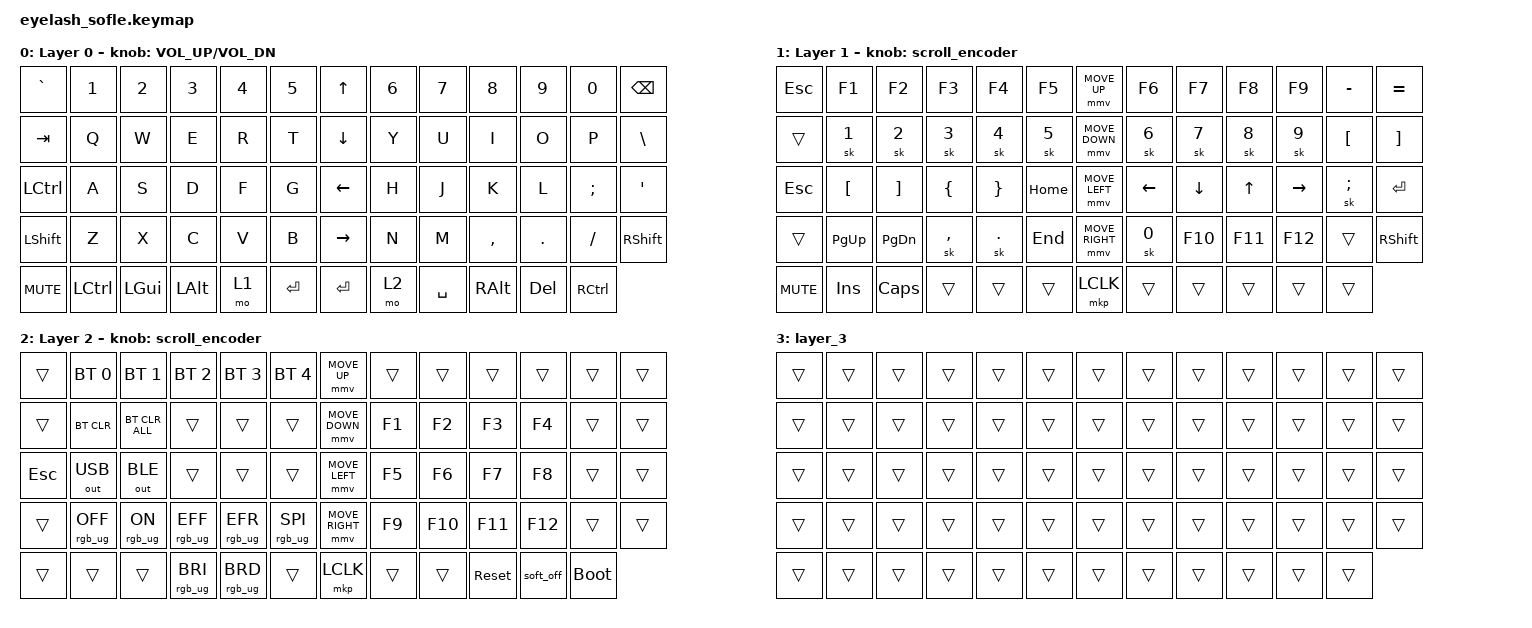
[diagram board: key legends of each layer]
#define ZMK_POINTING_DEFAULT_MOVE_VAL 1200  // 600
#define ZMK_POINTING_DEFAULT_SCRL_VAL 25   // 10

#include <input/processors.dtsi>
#include <zephyr/dt-bindings/input/input-event-codes.h>
#include <behaviors.dtsi>
#include <dt-bindings/zmk/bt.h>
#include <dt-bindings/zmk/keys.h>
#include <dt-bindings/zmk/outputs.h>
#include <dt-bindings/zmk/pointing.h>
#include <dt-bindings/zmk/rgb.h>

&mmv_input_listener { input-processors = <&zip_xy_scaler 2 1>; };

&msc_input_listener { input-processors = <&zip_scroll_scaler 2 1>; };

&msc {
    acceleration-exponent = <1>;      // 0
    time-to-max-speed-ms = <100>;       // 300
    delay-ms = <0>;                   // 0
};

&mmv {
    time-to-max-speed-ms = <500>;
    acceleration-exponent = <1>;
    trigger-period-ms = <16>;
};

&soft_off { hold-time-ms = <2000>; };

/ {
    scroll_encoder: scroll_encoder {
        compatible = "zmk,behavior-sensor-rotate";
        #sensor-binding-cells = <0>;
        bindings = <&msc SCRL_DOWN>, <&msc SCRL_UP>;

        tap-ms = <100>;
    };

    behaviors {
    };

    combos {
        compatible = "zmk,combos";

        softoff {
            bindings = <&soft_off>;
            key-positions = <14 28 40>;
        };
    };

    keymap {
        compatible = "zmk,keymap";

        layer0 {
            bindings = <
&kp GRAVE    &kp N1     &kp N2        &kp N3         &kp N4  &kp N5       &kp UP_ARROW     &kp N6     &kp N7     &kp N8           &kp N9           &kp N0       &kp BACKSPACE
&kp TAB      &kp Q      &kp W         &kp E          &kp R   &kp T        &kp DOWN_ARROW   &kp Y      &kp U      &kp I            &kp O            &kp P        &kp BSLH
&kp LCTRL    &kp A      &kp S         &kp D          &kp F   &kp G        &kp LEFT_ARROW   &kp H      &kp J      &kp K            &kp L            &kp SEMI     &kp APOS
&kp LSHFT    &kp Z      &kp X         &kp C          &kp V   &kp B        &kp RIGHT_ARROW  &kp N      &kp M      &kp COMMA        &kp DOT          &kp FSLH     &kp RIGHT_SHIFT
&kp C_MUTE   &kp LCTRL  &kp LEFT_GUI  &kp LEFT_ALT   &mo 1   &kp ENTER    &kp ENTER        &mo 2      &kp SPACE  &kp RIGHT_ALT    &kp DELETE       &kp RCTRL
            >;

            sensor-bindings = <&inc_dec_kp C_VOLUME_UP C_VOL_DN>;
            display-name = "Layer 0";
        };

        layer_1 {
            bindings = <
&kp ESC     &kp F1        &kp F2          &kp F3           &kp F4           &kp F5         &mmv MOVE_UP     &kp F6           &kp F7           &kp F8      &kp F9      &kp MINUS     &kp EQUAL
&trans      &sk N1        &sk N2          &sk N3           &sk N4           &sk N5         &mmv MOVE_DOWN   &sk N6           &sk N7           &sk N8      &sk N9      &kp LBKT      &kp RBKT
&kp ESC     &kp LBKT      &kp RBKT        &kp LBRC         &kp RBRC         &kp HOME       &mmv MOVE_LEFT   &kp LEFT         &kp DOWN         &kp UP      &kp RIGHT   &sk SEMI      &kp ENTER
&trans      &kp PG_UP     &kp PG_DN       &sk COMMA        &sk DOT          &kp END        &mmv MOVE_RIGHT  &sk N0           &kp F10          &kp F11     &kp F12     &trans        &kp RIGHT_SHIFT
&kp C_MUTE  &kp INSERT    &kp CAPS        &trans           &trans           &trans         &mkp LCLK        &trans           &trans           &trans      &trans      &trans
            >;

            display-name = "Layer 1";
            sensor-bindings = <&scroll_encoder>;
        };

        layer_2 {
            bindings = <
&trans     &bt BT_SEL 0     &bt BT_SEL 1     &bt BT_SEL 2     &bt BT_SEL 3      &bt BT_SEL 4    &mmv MOVE_UP     &trans  &trans   &trans      &trans     &trans       &trans
&trans     &bt BT_CLR       &bt BT_CLR_ALL   &trans           &trans            &trans          &mmv MOVE_DOWN   &kp F1  &kp F2   &kp F3      &kp F4     &trans       &trans
&kp ESC    &out OUT_USB     &out OUT_BLE     &trans           &trans            &trans          &mmv MOVE_LEFT   &kp F5  &kp F6   &kp F7      &kp F8     &trans       &trans
&trans     &rgb_ug RGB_OFF  &rgb_ug RGB_ON   &rgb_ug RGB_EFF  &rgb_ug RGB_EFR   &rgb_ug RGB_SPI &mmv MOVE_RIGHT  &kp F9  &kp F10  &kp F11     &kp F12    &trans       &trans
&trans     &trans           &trans           &rgb_ug RGB_BRI  &rgb_ug RGB_BRD   &trans          &mkp LCLK        &trans  &trans   &sys_reset  &soft_off  &bootloader
            >;
            
            display-name = "Layer 2";
            sensor-bindings = <&scroll_encoder>;
        };

        layer_3 {
            bindings = <
&trans  &trans  &trans  &trans  &trans  &trans    &trans  &trans  &trans  &trans  &trans  &trans  &trans
&trans  &trans  &trans  &trans  &trans  &trans    &trans  &trans  &trans  &trans  &trans  &trans  &trans
&trans  &trans  &trans  &trans  &trans  &trans    &trans  &trans  &trans  &trans  &trans  &trans  &trans
&trans  &trans  &trans  &trans  &trans  &trans    &trans  &trans  &trans  &trans  &trans  &trans  &trans
&trans  &trans  &trans  &trans  &trans  &trans    &trans  &trans  &trans  &trans  &trans  &trans
            >;
        };
    };
};
